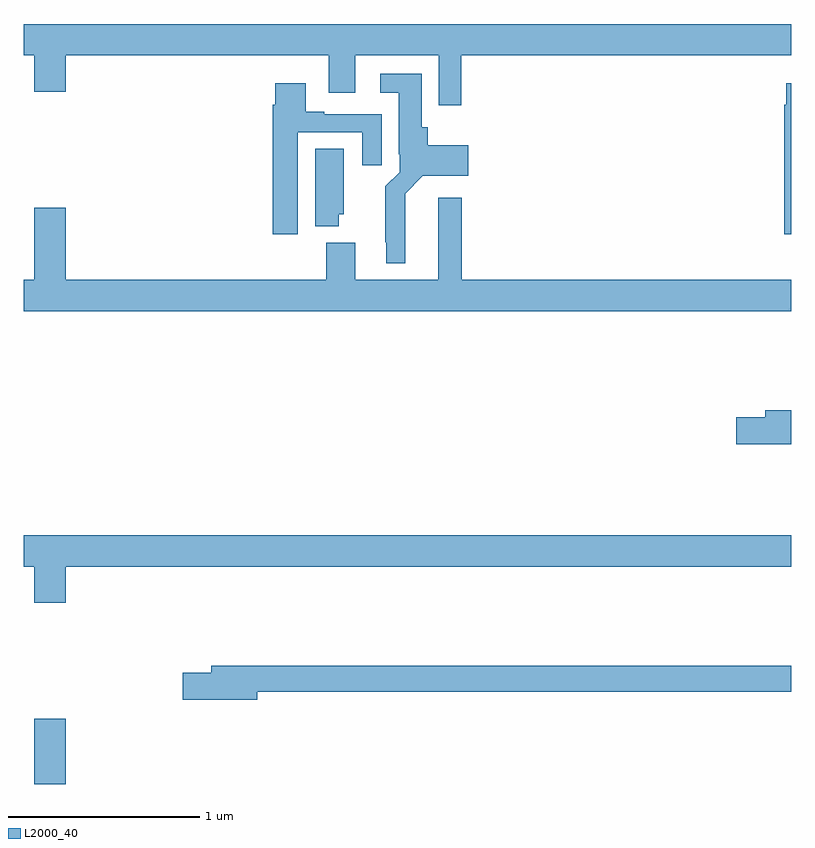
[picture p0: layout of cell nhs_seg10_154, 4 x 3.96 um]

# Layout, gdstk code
import gdstk
lib = gdstk.Library(unit=1e-6, precision=1e-09)
def R(c, l, rs):  # rectangles x0, y0, x1, y1
    for r in rs: c.add(gdstk.rectangle(r[:2], r[2:], *l))
def P(c, l, *ps):  # polygons
    for p in ps: c.add(gdstk.Polygon(p, *l))
L2000_40 = (2000, 40)

nhs_seg10_154 = lib.new_cell('nhs_seg10_154')
R(nhs_seg10_154, L2000_40, [(117.056,1316.5,117.22,1316.839)])
P(nhs_seg10_154, L2000_40, [(119.279,1320.296),(121,1320.296),(121,1320.46),(117,1320.46),(117,1320.296),(117.056,1320.296),(117.056,1320.108),(117.22,1320.108),(117.22,1320.296),(118.589,1320.296),(118.589,1320.102),(118.729,1320.102),(118.729,1320.296),(119.163,1320.296),(119.163,1320.036),(119.279,1320.036)],
  [(118.987,1319.576),(119.079,1319.669),(119.317,1319.669),(119.317,1319.827),(119.105,1319.827),(119.105,1319.922),(119.074,1319.922),(119.074,1320.202),(118.857,1320.202),(118.857,1320.101),(118.955,1320.101),(118.955,1319.782),(118.959,1319.782),(118.959,1319.688),(118.885,1319.614),(118.885,1319.323),(118.889,1319.323),(118.889,1319.213),(118.987,1319.213)],
  [(118.429,1319.895),(118.763,1319.895),(118.763,1319.724),(118.867,1319.724),(118.867,1319.991),(118.567,1319.991),(118.567,1320.004),(118.471,1320.004),(118.471,1320.151),(118.31,1320.151),(118.31,1320.038),(118.298,1320.038),(118.298,1319.364),(118.429,1319.364)],
  [(121,1320.151),(120.974,1320.151),(120.974,1320.038),(120.962,1320.038),(120.962,1319.364),(121,1319.364)],
  [(118.642,1319.469),(118.669,1319.469),(118.669,1319.81),(118.52,1319.81),(118.52,1319.405),(118.642,1319.405)],
  [(121,1319.128),(119.282,1319.128),(119.282,1319.554),(119.159,1319.554),(119.159,1319.128),(118.729,1319.128),(118.729,1319.32),(118.577,1319.32),(118.577,1319.128),(117.22,1319.128),(117.22,1319.503),(117.056,1319.503),(117.056,1319.128),(117,1319.128),(117,1318.964),(121,1318.964)],
  [(121,1318.448),(120.863,1318.448),(120.863,1318.412),(120.714,1318.412),(120.714,1318.27),(121,1318.27)],
  [(117.22,1317.632),(121,1317.632),(121,1317.796),(117,1317.796),(117,1317.632),(117.056,1317.632),(117.056,1317.444),(117.22,1317.444)],
  [(118.216,1316.98),(121,1316.98),(121,1317.116),(117.977,1317.116),(117.977,1317.08),(117.828,1317.08),(117.828,1316.938),(118.216,1316.938)])

lib.write_gds('nhs_seg10_154.gds')
